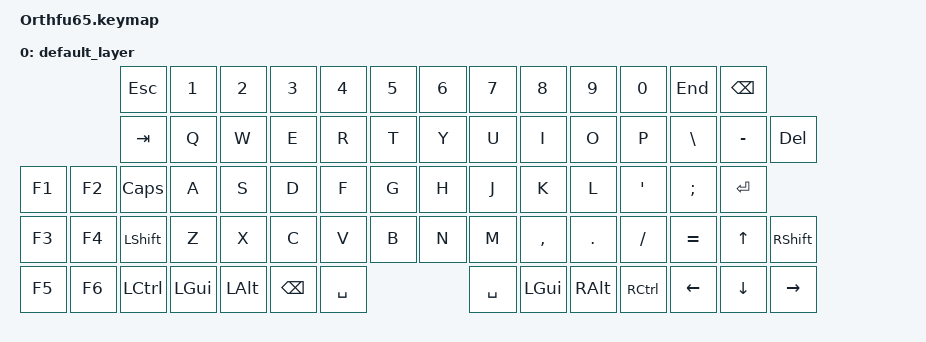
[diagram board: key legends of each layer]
#include <behaviors.dtsi>
#include <dt-bindings/zmk/keys.h>

/ {
    keymap {
        compatible = "zmk,keymap";

    default_layer { 
            // ---------------------------------------------------------------------------------------------------------------------------------------------------
            //                       |  ESC |  1  |  2  |  3   |  4   |  5   |  6      |  7      |  8   |  9    |  0    |       END  |         BACKSPACE         |
            //                       |  TAB |  Q  |  W  |  E   |  R   |  T   | EQUAL   |BACKSLASH|  Y   |  U    |  I    |        O   |      P      |     DEL     |
            //     |  BLANK |  BLANK | CAPS |  A  |  S  |  D   |  F   |  G   | MINUS   |  SQT    |  H   |  J    |  K    |        L   |          ENTER            |
            //     |  BLANK |  BLANK |LSHIFT|  Z  |  X  |  C   |  V   |  B   |SEMICOLON|  FSLH   |  N   |  M    |  ,    |        .   |   UP_ARROW  |      RSHIFT |
            //     |  BLANK |  BLANK | CTRL |WIN | LALT | BSPC |        SPACE    SPACE          |  WIN | RALT  | RCTRL | LEFT_ARROW | DOWN_ARROW  | RIGHT_ARROW | 
            bindings = <  
                &kp ESC       &kp N1        &kp N2        &kp N3        &kp N4   &kp N5       &kp N6       &kp N7       &kp N8         &kp N9            &kp N0          &kp END               &kp BACKSPACE
                &kp TAB       &kp Q         &kp W         &kp E         &kp R    &kp T        &kp Y        &kp U        &kp I          &kp O             &kp P           &kp BACKSLASH   &kp MINUS     &kp DEL
&kp F1 &kp F2   &kp CAPS      &kp A         &kp S         &kp D         &kp F    &kp G        &kp H        &kp J        &kp K          &kp L             &kp SQT         &kp SEMICOLON         &kp ENTER
&kp F3 &kp F4   &kp LSHIFT    &kp Z         &kp X         &kp C         &kp V    &kp B        &kp N        &kp M        &kp COMMA      &kp PERIOD        &kp FSLH        &kp EQUAL       &kp UP_ARROW     &kp RSHFT
&kp F5 &kp F6   &kp LCTRL     &kp LEFT_GUI  &kp LALT      &kp BSPC           &kp SPACE               &kp SPACE          &kp LEFT_GUI   &kp RALT          &kp RCTRL       &kp LEFT_ARROW  &kp DOWN_ARROW   &kp RIGHT_ARROW
            >;
        };
    };
};
